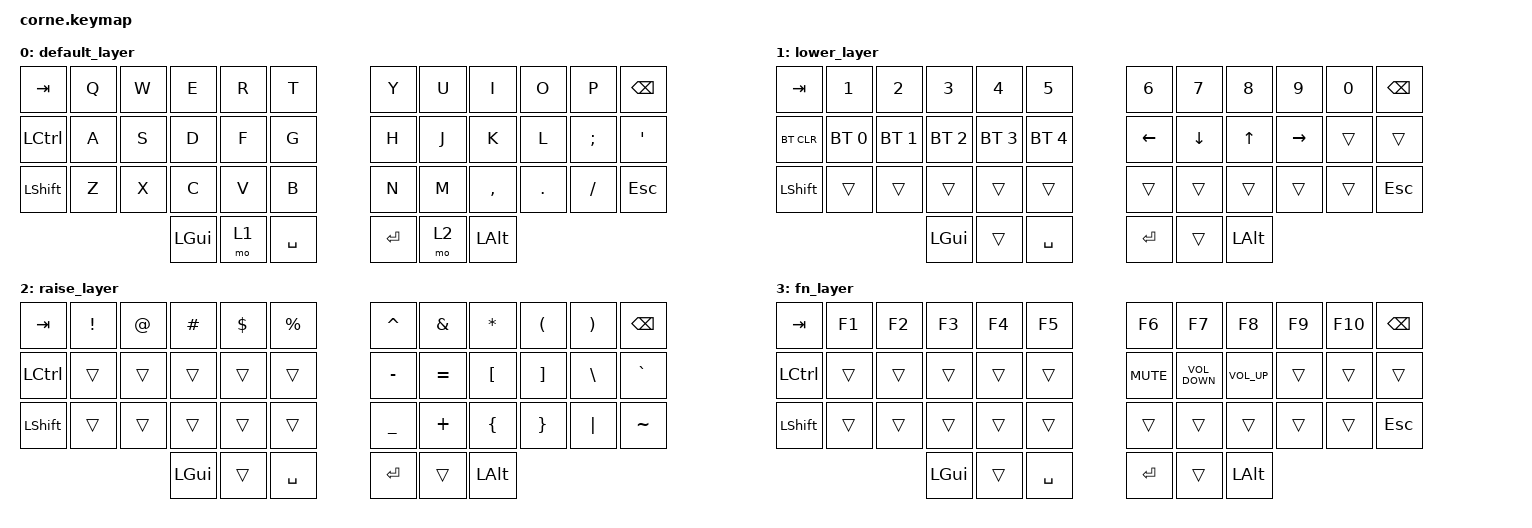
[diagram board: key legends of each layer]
/*
 * Copyright (c) 2020 The ZMK Contributors
 *
 * SPDX-License-Identifier: MIT
 */

#include <behaviors.dtsi>
#include <dt-bindings/zmk/bt.h>
#include <dt-bindings/zmk/keys.h>

/ {
    behaviors {
        HML: HML {
            compatible = "zmk,behavior-hold-tap";
            label = "HML";
            bindings = <&kp>, <&kp>;

            #binding-cells = <2>;
            tapping-term-ms = <280>;
            quick-tap-ms = <175>;
            require-prior-idle-ms = <150>;
            flavor = "tap-preferred";
            hold-trigger-on-release;
        };

        HMR: HMR {
            compatible = "zmk,behavior-hold-tap";
            label = "HMR";
            bindings = <&kp>, <&kp>;

            #binding-cells = <2>;
            tapping-term-ms = <280>;
            quick-tap-ms = <175>;
            require-prior-idle-ms = <150>;
            flavor = "tap-preferred";
            hold-trigger-on-release;
        };
    };

    combos {
        compatible = "zmk,combos";

        C_ESC {
            bindings = <&kp ESC>;
            key-positions = <19 20>;
        };
    };

    keymap {
        compatible = "zmk,keymap";

        default_layer {
            // -----------------------------------------------------------------------------------------
            // |  TAB |  Q  |  W  |  E  |  R  |  T  |   |  Y  |  U   |  I  |  O  |  P  | BSPC |
            // | CTRL |  A  |  S  |  D  |  F  |  G  |   |  H  |  J   |  K  |  L  |  ;  |  '   |
            // | SHFT |  Z  |  X  |  C  |  V  |  B  |   |  N  |  M   |  ,  |  .  |  /  | ESC  |
            //                    | GUI | LWR | SPC |   | ENT | RSE  | ALT |

            bindings = <
&kp TAB    &kp Q  &kp W  &kp E     &kp R  &kp T        &kp Y      &kp U  &kp I      &kp O    &kp P     &kp BSPC
&kp LCTRL  &kp A  &kp S  &kp D     &kp F  &kp G        &kp H      &kp J  &kp K      &kp L    &kp SEMI  &kp SQT
&kp LSHFT  &kp Z  &kp X  &kp C     &kp V  &kp B        &kp N      &kp M  &kp COMMA  &kp DOT  &kp FSLH  &kp ESC
                         &kp LGUI  &mo 1  &kp SPACE    &kp ENTER  &mo 2  &kp LALT
            >;
        };

        lower_layer {
            // -----------------------------------------------------------------------------------------
            // |  TAB |  1  |  2  |  3  |  4  |  5  |   |  6  |  7  |  8  |  9  |  0  | BSPC |
            // | BTCLR| BT1 | BT2 | BT3 | BT4 | BT5 |   | LFT | DWN |  UP | RGT |     |      |
            // | SHFT |     |     |     |     |     |   |     |     |     |     |     |      |
            //                    | GUI |     | SPC |   | ENT |     | ALT |

            bindings = <
&kp TAB     &kp N1        &kp N2        &kp N3        &kp N4        &kp N5          &kp N6    &kp N7    &kp N8    &kp N9     &kp N0  &kp BSPC
&bt BT_CLR  &bt BT_SEL 0  &bt BT_SEL 1  &bt BT_SEL 2  &bt BT_SEL 3  &bt BT_SEL 4    &kp LEFT  &kp DOWN  &kp UP    &kp RIGHT  &trans  &trans
&kp LSHFT   &trans        &trans        &trans        &trans        &trans          &trans    &trans    &trans    &trans     &trans  &kp ESC
                                        &kp LGUI      &trans        &kp SPACE       &kp RET   &trans    &kp LALT
            >;
        };

        raise_layer {
            // -----------------------------------------------------------------------------------------
            // |  TAB |  !  |  @  |  #  |  $  |  %  |   |  ^  |  &  |  *  |  (  |  )  | BSPC |
            // | CTRL |     |     |     |     |     |   |  -  |  =  |  [  |  ]  |  \  |  `   |
            // | SHFT |     |     |     |     |     |   |  _  |  +  |  {  |  }  | "|" |  ~   |
            //                    | GUI |     | SPC |   | ENT |     | ALT |

            bindings = <
&kp TAB    &kp EXCL  &kp AT  &kp HASH  &kp DLLR  &kp PRCNT    &kp CARET  &kp AMPS   &kp ASTRK     &kp LPAR  &kp RPAR  &kp BSPC
&kp LCTRL  &trans    &trans  &trans    &trans    &trans       &kp MINUS  &kp EQUAL  &kp LBKT      &kp RBKT  &kp BSLH  &kp GRAVE
&kp LSHFT  &trans    &trans  &trans    &trans    &trans       &kp UNDER  &kp PLUS   &kp LBRC      &kp RBRC  &kp PIPE  &kp TILDE
                             &kp LGUI  &trans    &kp SPACE    &kp RET    &trans     &kp LEFT_ALT
            >;
        };

        fn_layer {
            bindings = <
&kp TAB    &kp F1  &kp F2  &kp F3    &kp F4  &kp F5       &kp F6      &kp F7             &kp F8           &kp F9  &kp F10  &kp BSPC
&kp LCTRL  &trans  &trans  &trans    &trans  &trans       &kp C_MUTE  &kp C_VOLUME_DOWN  &kp C_VOLUME_UP  &trans  &trans   &trans
&kp LSHFT  &trans  &trans  &trans    &trans  &trans       &trans      &trans             &trans           &trans  &trans   &kp ESC
                           &kp LGUI  &trans  &kp SPACE    &kp RET     &trans             &kp LEFT_ALT
            >;
        };
    };

    conditional_layers {
        compatible = "zmk,conditional-layers";

        fn_layer {
            if-layers = <1 2>;
            then-layer = <3>;
        };
    };
};
